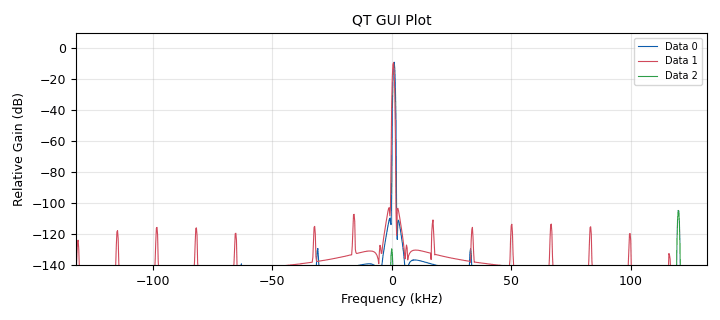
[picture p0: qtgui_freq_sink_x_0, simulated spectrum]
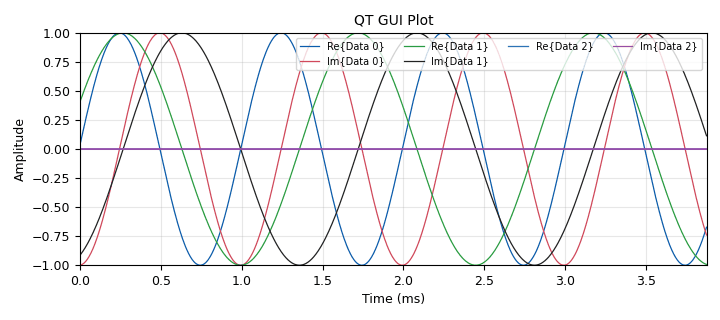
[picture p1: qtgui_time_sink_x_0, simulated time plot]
options:
  parameters:
    author: Dperez
    generate_options: qt_gui
    id: exercise
    output_language: python
    title: Not titled yet
  states: {}

blocks:
- name: samp_rate
  id: variable
  parameters:
    value: '264000'
  states: {}
- name: analog_sig_source_x_0
  id: analog_sig_source_x
  parameters:
    amp: '1'
    freq: '1000'
    offset: '0'
    phase: '0'
    samp_rate: samp_rate
    type: complex
    waveform: analog.GR_COS_WAVE
  states: {}
- name: analog_sig_source_x_0_0
  id: analog_sig_source_x
  parameters:
    amp: '1'
    freq: '11000'
    offset: '0'
    phase: '0'
    samp_rate: samp_rate
    type: complex
    waveform: analog.GR_COS_WAVE
  states: {}
- name: analog_sig_source_x_0_1
  id: analog_sig_source_x
  parameters:
    amp: '1'
    freq: '24000'
    offset: '0'
    phase: '0'
    samp_rate: samp_rate
    type: complex
    waveform: analog.GR_COS_WAVE
  states: {}
- name: blocks_throttle_0
  id: blocks_throttle
  parameters:
    samples_per_second: samp_rate
    type: complex
  states: {}
- name: qtgui_freq_sink_x_0
  id: qtgui_freq_sink_x
  parameters:
    bw: samp_rate
    fc: '0'
    fftsize: '1024'
    name: 'QT GUI Plot '
    nconnections: '3'
    type: complex
  states: {}
- name: qtgui_time_sink_x_0
  id: qtgui_time_sink_x
  parameters:
    name: 'QT GUI Plot '
    nconnections: '3'
    size: '1024'
    srate: samp_rate
    type: complex
  states: {}
- name: rational_resampler_xxx_0
  id: rational_resampler_xxx
  parameters:
    decim: '1'
    interp: '1'
    type: ccc
  states: {}
- name: rational_resampler_xxx_0_0
  id: rational_resampler_xxx
  parameters:
    decim: '16'
    interp: '1'
    type: ccc
  states: {}
- name: rational_resampler_xxx_0_1
  id: rational_resampler_xxx
  parameters:
    decim: '1'
    interp: '16'
    type: ccc
  states: {}

connections:
- [analog_sig_source_x_0, '0', rational_resampler_xxx_0, '0']
- [analog_sig_source_x_0_0, '0', rational_resampler_xxx_0_1, '0']
- [analog_sig_source_x_0_1, '0', rational_resampler_xxx_0_0, '0']
- [blocks_throttle_0, '0', qtgui_freq_sink_x_0, '0']
- [blocks_throttle_0, '0', qtgui_time_sink_x_0, '0']
- [rational_resampler_xxx_0, '0', blocks_throttle_0, '0']
- [rational_resampler_xxx_0_0, '0', qtgui_freq_sink_x_0, '2']
- [rational_resampler_xxx_0_0, '0', qtgui_time_sink_x_0, '2']
- [rational_resampler_xxx_0_1, '0', qtgui_freq_sink_x_0, '1']
- [rational_resampler_xxx_0_1, '0', qtgui_time_sink_x_0, '1']

metadata:
  file_format: 1
  grc_version: 3.10.2.0
